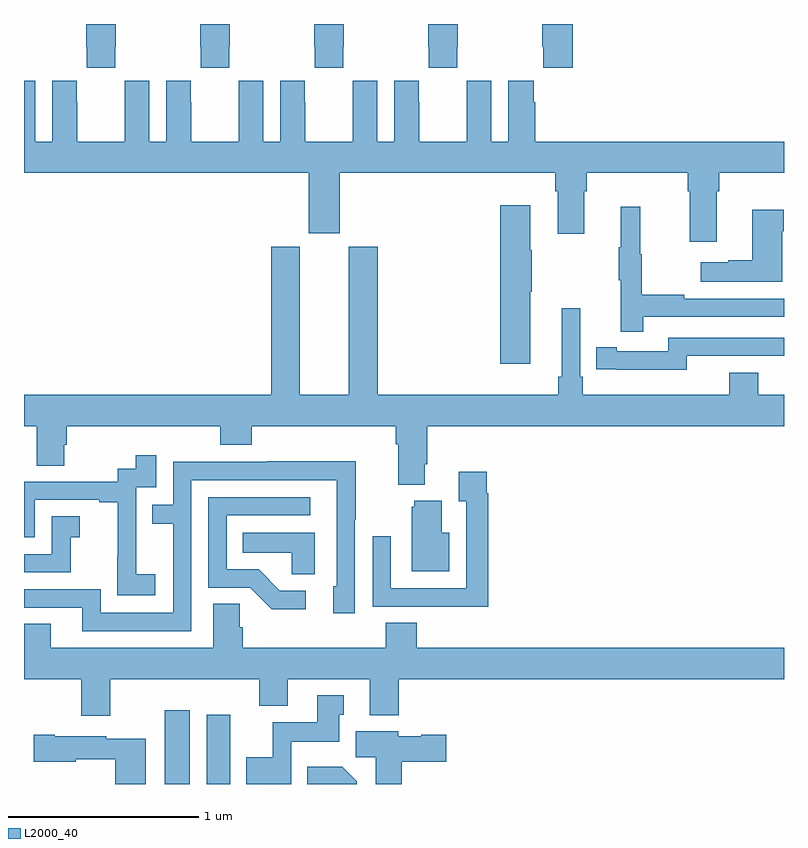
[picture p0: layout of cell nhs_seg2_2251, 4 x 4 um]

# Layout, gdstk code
import gdstk
lib = gdstk.Library(unit=1e-6, precision=1e-09)
def R(c, l, rs):  # rectangles x0, y0, x1, y1
    for r in rs: c.add(gdstk.rectangle(r[:2], r[2:], *l))
def P(c, l, *ps):  # polygons
    for p in ps: c.add(gdstk.Polygon(p, *l))
L2000_40 = (2000, 40)

nhs_seg2_2251 = lib.new_cell('nhs_seg2_2251')
R(nhs_seg2_2251, L2000_40, [(229.742,597.8,229.873,598.189), (229.961,597.8,230.086,598.165)])
P(nhs_seg2_2251, L2000_40, [(230.079,601.681),(230.082,601.681),(230.082,601.8),(229.927,601.8),(229.927,601.681),(229.929,601.681),(229.929,601.569),(230.079,601.569)],
  [(230.679,601.681),(230.682,601.681),(230.682,601.8),(230.527,601.8),(230.527,601.681),(230.529,601.681),(230.529,601.569),(230.679,601.569)],
  [(231.279,601.681),(231.282,601.681),(231.282,601.8),(231.127,601.8),(231.127,601.681),(231.129,601.681),(231.129,601.569),(231.279,601.569)],
  [(231.887,601.8),(231.727,601.8),(231.727,601.681),(231.733,601.681),(231.733,601.569),(231.887,601.569)],
  [(229.479,601.681),(229.482,601.681),(229.482,601.8),(229.327,601.8),(229.327,601.681),(229.329,601.681),(229.329,601.569),(229.479,601.569)],
  [(232.645,600.92),(232.658,600.92),(232.658,601.016),(233,601.016),(233,601.18),(231.692,601.18),(231.692,601.388),(231.682,601.388),(231.682,601.501),(231.548,601.501),(231.548,601.18),(231.46,601.18),(231.46,601.501),(231.33,601.501),(231.33,601.388),(231.329,601.388),(231.329,601.18),(231.079,601.18),(231.079,601.388),(231.078,601.388),(231.078,601.501),(230.948,601.501),(230.948,601.18),(230.86,601.18),(230.86,601.501),(230.73,601.501),(230.73,601.388),(230.729,601.388),(230.729,601.18),(230.479,601.18),(230.479,601.388),(230.478,601.388),(230.478,601.501),(230.348,601.501),(230.348,601.18),(230.26,601.18),(230.26,601.501),(230.13,601.501),(230.13,601.388),(230.129,601.388),(230.129,601.18),(229.879,601.18),(229.879,601.388),(229.878,601.388),(229.878,601.501),(229.748,601.501),(229.748,601.18),(229.66,601.18),(229.66,601.501),(229.53,601.501),(229.53,601.388),(229.529,601.388),(229.529,601.18),(229.279,601.18),(229.279,601.388),(229.278,601.388),(229.278,601.501),(229.148,601.501),(229.148,601.18),(229.06,601.18),(229.06,601.501),(229,601.501),(229,601.016),(230.498,601.016),(230.498,600.699),(230.662,600.699),(230.662,601.016),(231.797,601.016),(231.797,600.92),(231.809,600.92),(231.809,600.696),(231.949,600.696),(231.949,600.92),(231.962,600.92),(231.962,601.016),(232.493,601.016),(232.493,600.92),(232.505,600.92),(232.505,600.654),(232.645,600.654)],
  [(231.664,600.391),(231.672,600.391),(231.672,600.608),(231.664,600.608),(231.664,600.847),(231.506,600.847),(231.506,600.012),(231.664,600.012)],
  [(232.259,600.258),(233,600.258),(233,600.354),(232.475,600.354),(232.475,600.374),(232.252,600.374),(232.252,600.588),(232.244,600.588),(232.244,600.838),(232.142,600.838),(232.142,600.625),(232.131,600.625),(232.131,600.451),(232.142,600.451),(232.142,600.18),(232.259,600.18)],
  [(232.99,600.71),(232.998,600.71),(232.998,600.823),(232.832,600.823),(232.832,600.557),(232.706,600.557),(232.706,600.547),(232.563,600.547),(232.563,600.443),(232.99,600.443)],
  [(231.109,599.482),(231.122,599.482),(231.122,599.684),(233,599.684),(233,599.848),(232.865,599.848),(232.865,599.965),(232.712,599.965),(232.712,599.848),(231.941,599.848),(231.941,599.944),(231.927,599.944),(231.927,600.304),(231.83,600.304),(231.83,599.944),(231.811,599.944),(231.811,599.848),(230.861,599.848),(230.861,600.627),(230.708,600.627),(230.708,599.848),(230.452,599.848),(230.452,600.627),(230.3,600.627),(230.3,599.848),(229,599.848),(229,599.684),(229.066,599.684),(229.066,599.476),(229.213,599.476),(229.213,599.586),(229.226,599.586),(229.226,599.684),(230.033,599.684),(230.033,599.585),(230.198,599.585),(230.198,599.684),(230.957,599.684),(230.957,599.588),(230.969,599.588),(230.969,599.375),(231.109,599.375)],
  [(232.488,600.054),(232.948,600.054),(232.948,600.053),(233,600.053),(233,600.15),(232.392,600.15),(232.392,600.078),(232.12,600.078),(232.12,600.098),(232.012,600.098),(232.012,599.982),(232.12,599.982),(232.12,599.981),(232.488,599.981)],
  [(229.69,598.903),(229.592,598.903),(229.592,599.132),(229.59,599.132),(229.59,599.361),(229.695,599.361),(229.695,599.53),(229.587,599.53),(229.587,599.46),(229.494,599.46),(229.494,599.391),(229,599.391),(229,599.1),(229.056,599.1),(229.056,599.295),(229.397,599.295),(229.397,599.283),(229.493,599.283),(229.493,598.999),(229.492,598.999),(229.492,598.793),(229.69,598.793)],
  [(229.881,599.4),(230.646,599.4),(230.646,598.842),(230.627,598.842),(230.627,598.698),(230.742,598.698),(230.742,599.191),(230.745,599.191),(230.745,599.498),(230.281,599.498),(230.281,599.496),(229.785,599.496),(229.785,599.271),(229.675,599.271),(229.675,599.17),(229.785,599.17),(229.785,598.701),(229.404,598.701),(229.404,598.824),(229,598.824),(229,598.728),(229.307,598.728),(229.307,598.605),(229.881,598.605)],
  [(231.443,599.33),(231.436,599.33),(231.436,599.443),(231.287,599.443),(231.287,599.287),(231.327,599.287),(231.327,598.83),(230.931,598.83),(230.931,599.104),(230.835,599.104),(230.835,598.734),(231.151,598.734),(231.151,598.733),(231.443,598.733)],
  [(230.482,598.818),(230.347,598.818),(230.236,598.929),(230.067,598.929),(230.067,599.214),(230.506,599.214),(230.506,599.31),(229.971,599.31),(229.971,598.833),(230.19,598.833),(230.303,598.721),(230.482,598.721)],
  [(231.238,599.122),(231.199,599.122),(231.199,599.29),(231.053,599.29),(231.053,599.259),(231.041,599.259),(231.041,598.919),(231.238,598.919)],
  [(229.245,599.099),(229.294,599.099),(229.294,599.209),(229.146,599.209),(229.146,599.01),(229,599.01),(229,598.914),(229.245,598.914)],
  [(230.53,599.122),(230.152,599.122),(230.152,599.018),(230.409,599.018),(230.409,598.903),(230.53,598.903)],
  [(229.453,598.352),(230.237,598.352),(230.237,598.211),(230.389,598.211),(230.389,598.352),(230.819,598.352),(230.819,598.163),(230.972,598.163),(230.972,598.352),(233,598.352),(233,598.516),(231.068,598.516),(231.068,598.649),(230.903,598.649),(230.903,598.516),(230.15,598.516),(230.15,598.625),(230.136,598.625),(230.136,598.748),(229.997,598.748),(229.997,598.516),(229.141,598.516),(229.141,598.643),(229.002,598.643),(229.002,598.516),(229,598.516),(229,598.352),(229.301,598.352),(229.301,598.158),(229.453,598.158)],
  [(230.406,598.022),(230.659,598.022),(230.659,598.164),(230.683,598.164),(230.683,598.267),(230.543,598.267),(230.543,598.126),(230.308,598.126),(230.308,597.94),(230.171,597.94),(230.171,597.8),(230.406,597.8)],
  [(230.987,597.917),(231.223,597.917),(231.223,598.059),(231.09,598.059),(231.09,598.051),(230.97,598.051),(230.97,598.078),(230.747,598.078),(230.747,597.94),(230.852,597.94),(230.852,597.8),(230.987,597.8)],
  [(229.642,598.039),(229.434,598.039),(229.434,598.051),(229.162,598.051),(229.162,598.059),(229.05,598.059),(229.05,597.917),(229.272,597.917),(229.272,597.929),(229.48,597.929),(229.48,597.8),(229.642,597.8)],
  [(230.752,597.814),(230.674,597.892),(230.491,597.892),(230.491,597.8),(230.752,597.8)])

lib.write_gds('nhs_seg2_2251.gds')
